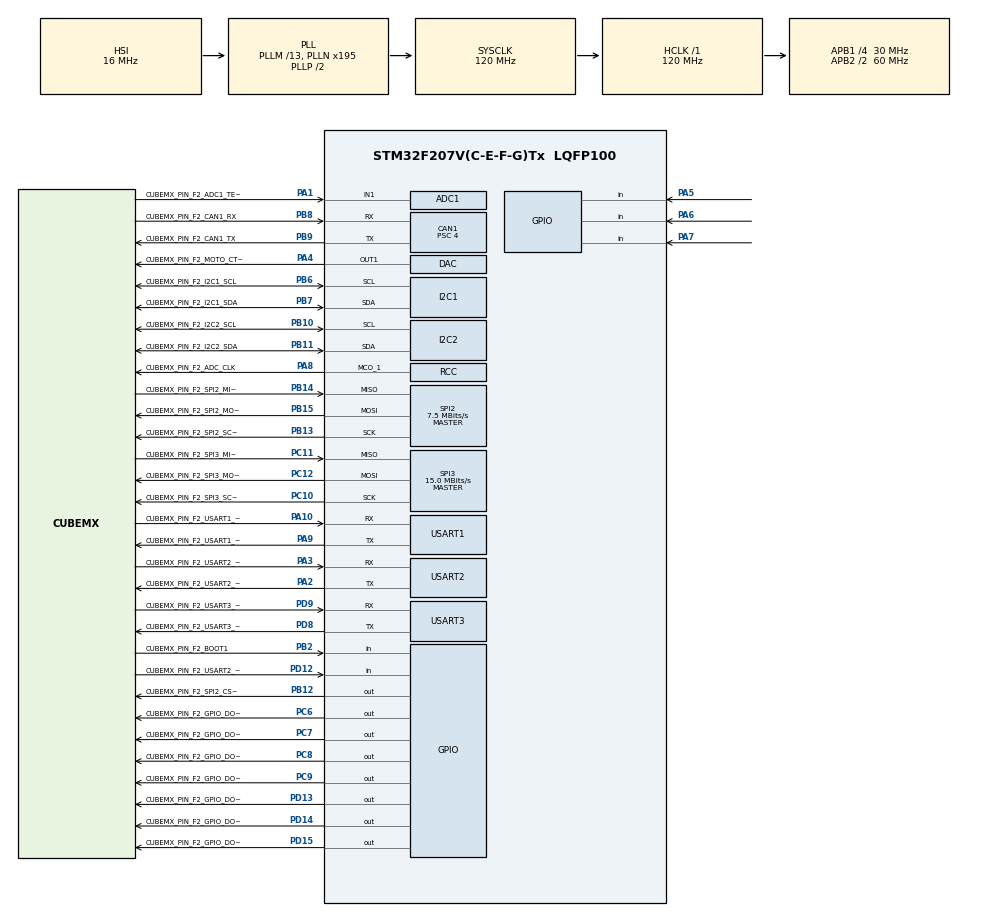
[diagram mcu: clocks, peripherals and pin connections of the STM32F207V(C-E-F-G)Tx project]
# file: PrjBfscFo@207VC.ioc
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ADC1.Channel-20\#ChannelRegularConversion=ADC_CHANNEL_1
ADC1.Channel-21\#ChannelRegularConversion=ADC_CHANNEL_TEMPSENSOR
ADC1.Channel-IN1=ADC_CHANNEL_1
ADC1.ClockPrescaler=ADC_CLOCK_SYNC_PCLK_DIV2
ADC1.ContinuousConvMode=DISABLE
ADC1.DMAContinuousRequests=DISABLE
ADC1.DataAlign=ADC_DATAALIGN_RIGHT
ADC1.DiscontinuousConvMode=DISABLE
ADC1.EOCSelection=ADC_EOC_SEQ_CONV
ADC1.EnableAnalogWatchDog=false
ADC1.ExternalTrigConvEdge=ADC_EXTERNALTRIGCONVEDGE_NONE
ADC1.InjNumberOfConversion=0
ADC1.NbrOfConversion=2
ADC1.Rank-20\#ChannelRegularConversion=1
ADC1.Rank-21\#ChannelRegularConversion=2
ADC1.Resolution=ADC_RESOLUTION_12B
ADC1.SamplingTime-20\#ChannelRegularConversion=ADC_SAMPLETIME_3CYCLES
ADC1.SamplingTime-21\#ChannelRegularConversion=ADC_SAMPLETIME_3CYCLES
ADC1.ScanConvMode=DISABLE
ADC1.master=1
CAN1.BS1=CAN_BS1_12TQ
CAN1.BS2=CAN_BS2_2TQ
CAN1.CalculateTimeBit=2000
CAN1.CalculateTimeQuantum=133.33333333333334
CAN1.Prescaler=4
Dma.Request0=SPI2_RX
Dma.Request1=SPI2_TX
Dma.SPI2_RX.0.Direction=DMA_PERIPH_TO_MEMORY
Dma.SPI2_RX.0.FIFOMode=DMA_FIFOMODE_DISABLE
Dma.SPI2_RX.0.Instance=DMA1_Stream3
Dma.SPI2_RX.0.MemDataAlignment=DMA_MDATAALIGN_BYTE
Dma.SPI2_RX.0.MemInc=DMA_MINC_ENABLE
Dma.SPI2_RX.0.Mode=DMA_NORMAL
Dma.SPI2_RX.0.PeriphDataAlignment=DMA_PDATAALIGN_BYTE
Dma.SPI2_RX.0.PeriphInc=DMA_PINC_DISABLE
Dma.SPI2_RX.0.Priority=DMA_PRIORITY_MEDIUM
Dma.SPI2_TX.1.Direction=DMA_MEMORY_TO_PERIPH
Dma.SPI2_TX.1.FIFOMode=DMA_FIFOMODE_DISABLE
Dma.SPI2_TX.1.Instance=DMA1_Stream4
Dma.SPI2_TX.1.MemDataAlignment=DMA_MDATAALIGN_BYTE
Dma.SPI2_TX.1.MemInc=DMA_MINC_ENABLE
Dma.SPI2_TX.1.Mode=DMA_NORMAL
Dma.SPI2_TX.1.PeriphDataAlignment=DMA_PDATAALIGN_BYTE
Dma.SPI2_TX.1.PeriphInc=DMA_PINC_DISABLE
Dma.SPI2_TX.1.Priority=DMA_PRIORITY_MEDIUM
FREERTOS.INCLUDE_eTaskGetState=1
FREERTOS.INCLUDE_pcTaskGetTaskName=1
FREERTOS.INCLUDE_vTaskCleanUpResources=1
FREERTOS.Queues01=myQueue01,16,uint16_t,NULL
FREERTOS.Tasks01=defaultTask,0,512,StartDefaultTask,Default;myTask02,0,512,StartTask02,Default
FREERTOS.Timers01=myTimer01,Callback01,osTimerPeriodic,Default
FREERTOS.configCHECK_FOR_STACK_OVERFLOW=2
FREERTOS.configGENERATE_RUN_TIME_STATS=1
FREERTOS.configMAX_PRIORITIES=31
FREERTOS.configMAX_TASK_NAME_LEN=24
FREERTOS.configQUEUE_REGISTRY_SIZE=2
FREERTOS.configTOTAL_HEAP_SIZE=0x8C00
FREERTOS.configUSE_COUNTING_SEMAPHORES=1
FREERTOS.configUSE_IDLE_HOOK=1
FREERTOS.configUSE_MALLOC_FAILED_HOOK=1
FREERTOS.configUSE_PORT_OPTIMISED_TASK_SELECTION=1
FREERTOS.configUSE_RECURSIVE_MUTEXES=1
FREERTOS.configUSE_TICKLESS_IDLE=1
FREERTOS.configUSE_TICK_HOOK=1
FREERTOS.configUSE_TIMERS=1
Mcu.Family=STM32F2
Mcu.Name=STM32F207V(C-E-F-G)Tx
Mcu.Package=LQFP100
NVIC.CAN1_RX0_IRQn=true\:5\:0\:false\:false\:true\:true
NVIC.CAN1_RX1_IRQn=true\:5\:0\:false\:false\:true\:true
NVIC.DMA1_Stream3_IRQn=true\:5\:0\:false\:false\:true\:true
NVIC.DMA1_Stream4_IRQn=true\:5\:0\:false\:false\:true\:true
NVIC.PriorityGroup=NVIC_PRIORITYGROUP_4
NVIC.SPI2_IRQn=true\:5\:0\:false\:true\:true\:3\:true
NVIC.TIM1_UP_TIM10_IRQn=true\:0\:0\:false\:false\:true\:false
NVIC.TimeBase=TIM1_UP_TIM10_IRQn
NVIC.TimeBaseIP=TIM1
NVIC.USART1_IRQn=true\:5\:0\:true\:false\:true\:true
NVIC.USART2_IRQn=true\:5\:0\:false\:true\:true\:4\:true
NVIC.USART3_IRQn=true\:5\:0\:false\:true\:true\:5\:true
PA0-WKUP.GPIO_Label=CUBEMX_PIN_F2_STS_WKUP
PA0-WKUP.Mode=SYS_WakeUp0
PA0-WKUP.Signal=SYS_WKUP
PA1.GPIO_Label=CUBEMX_PIN_F2_ADC1_TEST1
PA1.Signal=ADCx_IN1
PA10.GPIO_Label=CUBEMX_PIN_F2_USART1_RX_DEBUG
PA10.Mode=Asynchronous
PA10.Signal=USART1_RX
PA13.GPIO_Label=CUBEMX_PIN_F2_SYS_JTMS_SWDIO
PA13.Mode=JTAG_5_pins
PA13.Signal=SYS_JTMS-SWDIO
PA14.GPIO_Label=CUBEMX_PIN_F2_SYS_JTCK_SWCLK
PA14.Mode=JTAG_5_pins
PA14.Signal=SYS_JTCK-SWCLK
PA15.GPIO_Label=CUBEMX_PIN_F2_SYS_JTDI
PA15.Mode=JTAG_5_pins
PA15.Signal=SYS_JTDI
PA2.GPIO_Label=CUBEMX_PIN_F2_USART2_TX_485
PA2.Mode=Asynchronous
PA2.Signal=USART2_TX
PA3.GPIO_Label=CUBEMX_PIN_F2_USART2_RX_485
PA3.Mode=Asynchronous
PA3.Signal=USART2_RX
PA4.GPIO_Label=CUBEMX_PIN_F2_MOTO_CTRL
PA4.Signal=COMP_DAC1_group
PA5.Signal=GPIO_Input
PA6.Signal=GPIO_Input
PA7.Signal=GPIO_Input
PA8.GPIO_Label=CUBEMX_PIN_F2_ADC_CLK
PA8.Mode=Clock-out-1
PA8.Signal=RCC_MCO_1
PA9.GPIO_Label=CUBEMX_PIN_F2_USART1_TX_DEBUG
PA9.Mode=Asynchronous
PA9.Signal=USART1_TX
PB10.GPIO_Label=CUBEMX_PIN_F2_I2C2_SCL
PB10.Mode=I2C
PB10.Signal=I2C2_SCL
PB11.GPIO_Label=CUBEMX_PIN_F2_I2C2_SDA
PB11.Mode=I2C
PB11.Signal=I2C2_SDA
PB12.GPIO_Label=CUBEMX_PIN_F2_SPI2_CS_ADC
PB12.GPIO_Speed=GPIO_SPEED_FREQ_MEDIUM
PB12.PinState=GPIO_PIN_SET
PB12.Signal=GPIO_Output
PB13.GPIO_Label=CUBEMX_PIN_F2_SPI2_SCK_ADC
PB13.Mode=Full_Duplex_Master
PB13.Signal=SPI2_SCK
PB14.GPIO_Label=CUBEMX_PIN_F2_SPI2_MISO_ADC
PB14.Mode=Full_Duplex_Master
PB14.Signal=SPI2_MISO
PB15.GPIO_Label=CUBEMX_PIN_F2_SPI2_MOSI_ADC
PB15.Mode=Full_Duplex_Master
PB15.Signal=SPI2_MOSI
PB2.GPIO_Label=CUBEMX_PIN_F2_BOOT1
PB2.Signal=GPIO_Input
PB3.GPIO_Label=CUBEMX_PIN_F2_SYS_JTDO_SWO
PB3.Mode=JTAG_5_pins
PB3.Signal=SYS_JTDO-SWO
PB4.GPIO_Label=CUBEMX_PIN_F2_SYS_JTRST
PB4.Mode=JTAG_5_pins
PB4.Signal=SYS_JTRST
PB6.GPIO_Label=CUBEMX_PIN_F2_I2C1_SCL
PB6.Mode=I2C
PB6.Signal=I2C1_SCL
PB7.GPIO_Label=CUBEMX_PIN_F2_I2C1_SDA
PB7.Mode=I2C
PB7.Signal=I2C1_SDA
PB8.GPIO_Label=CUBEMX_PIN_F2_CAN1_RX
PB8.Mode=Master
PB8.Signal=CAN1_RX
PB9.GPIO_Label=CUBEMX_PIN_F2_CAN1_TX
PB9.Mode=Master
PB9.Signal=CAN1_TX
PC10.GPIO_Label=CUBEMX_PIN_F2_SPI3_SCK_ADC
PC10.Mode=Full_Duplex_Master
PC10.Signal=SPI3_SCK
PC11.GPIO_Label=CUBEMX_PIN_F2_SPI3_MISO_ADC
PC11.Mode=Full_Duplex_Master
PC11.Signal=SPI3_MISO
PC12.GPIO_Label=CUBEMX_PIN_F2_SPI3_MOSI_ADC
PC12.Mode=Full_Duplex_Master
PC12.Signal=SPI3_MOSI
PC14-OSC32_IN.GPIO_Label=CUBEMX_PIN_F2_RCC_OSC32_IN
PC14-OSC32_IN.Mode=LSE-External-Oscillator
PC14-OSC32_IN.Signal=RCC_OSC32_IN
PC15-OSC32_OUT.GPIO_Label=CUBEMX_PIN_F2_RCC_OSC32_OUT
PC15-OSC32_OUT.Mode=LSE-External-Oscillator
PC15-OSC32_OUT.Signal=RCC_OSC32_OUT
PC6.GPIO_Label=CUBEMX_PIN_F2_GPIO_DO_LED_SERV1
PC6.Signal=GPIO_Output
PC7.GPIO_Label=CUBEMX_PIN_F2_GPIO_DO_LED_WORK_STATE
PC7.Signal=GPIO_Output
PC8.GPIO_Label=CUBEMX_PIN_F2_GPIO_DO_LED_COMMU
PC8.Signal=GPIO_Output
PC9.GPIO_Label=CUBEMX_PIN_F2_GPIO_DO_LED_POWER
PC9.Signal=GPIO_Output
PD12.GPIO_Label=CUBEMX_PIN_F2_USART2_485_CTRL
PD12.Signal=GPIO_Input
PD13.GPIO_Label=CUBEMX_PIN_F2_GPIO_DO_BEEP
PD13.Signal=GPIO_Output
PD14.GPIO_Label=CUBEMX_PIN_F2_GPIO_DO_LED_SERV3
PD14.Signal=GPIO_Output
PD15.GPIO_Label=CUBEMX_PIN_F2_GPIO_DO_LED_SERV2
PD15.Signal=GPIO_Output
PD8.GPIO_Label=CUBEMX_PIN_F2_USART3_TX_PRINT
PD8.Mode=Asynchronous
PD8.Signal=USART3_TX
PD9.GPIO_Label=CUBEMX_PIN_F2_USART3_RX_PRINT
PD9.Mode=Asynchronous
PD9.Signal=USART3_RX
ProjectManager.HeapSize=0x200
ProjectManager.StackSize=0x400
ProjectManager.TargetToolchain=MDK-ARM V5
RCC.48MHZClocksFreq_Value=60000000
RCC.AHBFreq_Value=120000000
RCC.APB1CLKDivider=RCC_HCLK_DIV4
RCC.APB1Freq_Value=30000000
RCC.APB1TimFreq_Value=60000000
RCC.APB2CLKDivider=RCC_HCLK_DIV2
RCC.APB2Freq_Value=60000000
RCC.APB2TimFreq_Value=120000000
RCC.CortexFreq_Value=120000000
RCC.HCLKFreq_Value=120000000
RCC.HSE_VALUE=25000000
RCC.HSI_VALUE=16000000
RCC.PLLM=13
RCC.PLLN=195
RCC.SYSCLKFreq_VALUE=120000000
RCC.SYSCLKSource=RCC_SYSCLKSOURCE_PLLCLK
RCC.VCOOutputFreq_Value=240000000
RTC.Date=3
RTC.Year=17
SH.ADCx_IN1.0=ADC1_IN1,IN1
SH.COMP_DAC1_group.0=DAC_OUT1,DAC_OUT1
SPI2.BaudRatePrescaler=SPI_BAUDRATEPRESCALER_4
SPI2.CalculateBaudRate=7.5 MBits/s
SPI2.Mode=SPI_MODE_MASTER
SPI3.CalculateBaudRate=15.0 MBits/s
SPI3.Mode=SPI_MODE_MASTER
VP_ADC1_TempSens_Input.Mode=IN-TempSens
VP_CRC_VS_CRC.Mode=CRC_Activate
VP_FREERTOS_VS_ENABLE.Mode=Enabled
VP_RTC_VS_RTC_Activate.Mode=RTC_Enabled
VP_RTC_VS_RTC_Alarm_A_Intern.Mode=Alarm A
VP_RTC_VS_RTC_Alarm_B_Intern.Mode=Alarm B
VP_RTC_VS_RTC_Calendar.Mode=RTC_Calendar
VP_RTC_VS_RTC_WakeUp_intern.Mode=WakeUp
VP_SYS_VS_tim1.Mode=TIM1
VP_TIM6_VS_ClockSourceINT.Mode=Enable_Timer
VP_TIM7_VS_ClockSourceINT.Mode=Enable_Timer
board=PrjBfscFo@207VC

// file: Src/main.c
/**
  ******************************************************************************
  * File Name          : main.c
  * Description        : Main program body
  ******************************************************************************
  *
  * Copyright (c) 2017 STMicroelectronics International N.V.
  * All rights reserved.
  *
  * Redistribution and use in source and binary forms, with or without
  * modification, are permitted, provided that the following conditions are met:
  *
  * 1. Redistribution of source code must retain the above copyright notice,
  *    this list of conditions and the following disclaimer.
  * 2. Redistributions in binary form must reproduce the above copyright notice,
  *    this list of conditions and the following disclaimer in the documentation
  *    and/or other materials provided with the distribution.
  * 3. Neither the name of STMicroelectronics nor the names of other
  *    contributors to this software may be used to endorse or promote products
  *    derived from this software without specific written permission.
  * 4. This software, including modifications and/or derivative works of this
  *    software, must execute solely and exclusively on microcontroller or
  *    microprocessor devices manufactured by or for STMicroelectronics.
  * 5. Redistribution and use of this software other than as permitted under
  *    this license is void and will automatically terminate your rights under
  *    this license.
  *
  * THIS SOFTWARE IS PROVIDED BY STMICROELECTRONICS AND CONTRIBUTORS "AS IS"
  * AND ANY EXPRESS, IMPLIED OR STATUTORY WARRANTIES, INCLUDING, BUT NOT
  * LIMITED TO, THE IMPLIED WARRANTIES OF MERCHANTABILITY, FITNESS FOR A
  * PARTICULAR PURPOSE AND NON-INFRINGEMENT OF THIRD PARTY INTELLECTUAL PROPERTY
  * RIGHTS ARE DISCLAIMED TO THE FULLEST EXTENT PERMITTED BY LAW. IN NO EVENT
  * SHALL STMICROELECTRONICS OR CONTRIBUTORS BE LIABLE FOR ANY DIRECT, INDIRECT,
  * INCIDENTAL, SPECIAL, EXEMPLARY, OR CONSEQUENTIAL DAMAGES (INCLUDING, BUT NOT
  * LIMITED TO, PROCUREMENT OF SUBSTITUTE GOODS OR SERVICES; LOSS OF USE, DATA,
  * OR PROFITS; OR BUSINESS INTERRUPTION) HOWEVER CAUSED AND ON ANY THEORY OF
  * LIABILITY, WHETHER IN CONTRACT, STRICT LIABILITY, OR TORT (INCLUDING
  * NEGLIGENCE OR OTHERWISE) ARISING IN ANY WAY OUT OF THE USE OF THIS SOFTWARE,
  * EVEN IF ADVISED OF THE POSSIBILITY OF SUCH DAMAGE.
  *
  ******************************************************************************
  */
#include "main.h"
#include "stm32f2xx_hal.h"
#include "cmsis_os.h"
#include "adc.h"
#include "can.h"
#include "crc.h"
#include "dac.h"
#include "dma.h"
#include "i2c.h"
#include "rtc.h"
#include "spi.h"
#include "tim.h"
#include "usart.h"
#include "gpio.h"

#include "huitp.h"

/* USER CODE BEGIN PV */
/* Private variables ---------------------------------------------------------*/
uint8_t zIhuUartRxBuffer[6];
uint8_t zIhuSpiRxBuffer[2];
uint8_t zIhuI2cRxBuffer[2];

/* USER CODE END PV */

void SystemClock_Config(void);
void Error_Handler(void);
void MX_FREERTOS_Init(void);
static void MX_NVIC_Init(void);

/* USER CODE BEGIN PFP */
/* Private function prototypes -----------------------------------------------*/
#ifdef __GNUC__
  /* With GCC/RAISONANCE, small printf (option LD Linker->Libraries->Small printf
     set to 'Yes') calls __io_putchar() */
  #define PUTCHAR_PROTOTYPE int __io_putchar(int ch)
#else
  #define PUTCHAR_PROTOTYPE int fputc(int ch, FILE *f)
#endif /* __GNUC__ */
/* USER CODE END PFP */

int main(void)
{

  /* MCU Configuration----------------------------------------------------------*/

  /* Reset of all peripherals, Initializes the Flash interface and the Systick. */
  HAL_Init();

  /* Configure the system clock */
  SystemClock_Config();

  /* Initialize all configured peripherals */
  MX_GPIO_Init();
  MX_DMA_Init();
  MX_ADC1_Init();
  MX_SPI2_Init();
  MX_TIM6_Init();
  MX_TIM7_Init();
  MX_USART1_UART_Init();
  MX_USART2_UART_Init();
  MX_USART3_UART_Init();
  MX_CAN1_Init();
  MX_RTC_Init();
  MX_CRC_Init();
  MX_DAC_Init();
  MX_I2C1_Init();
  MX_I2C2_Init();
  MX_SPI3_Init();

  /* Initialize interrupts */
  MX_NVIC_Init();

  /* USER CODE BEGIN 2 */
	/* 使能接收，进入中断回调函数 */
  HAL_UART_Receive_IT(&huart1,&zIhuUartRxBuffer[0],1);
  HAL_UART_Receive_IT(&huart2,&zIhuUartRxBuffer[1],1);
  HAL_UART_Receive_IT(&huart3,&zIhuUartRxBuffer[2],1);
//  HAL_UART_Receive_IT(&huart4,&zIhuUartRxBuffer[3],1);
//  HAL_UART_Receive_IT(&huart5,&zIhuUartRxBuffer[4],1);
  //HAL_UART_Receive_IT(&huart6,&zIhuUartRxBuffer[5],1);
  //HAL_SPI_Receive_IT(&hspi1,&zIhuSpiRxBuffer[0],1);
  //HAL_SPI_Receive_IT(&hspi2,&zIhuSpiRxBuffer[1],1);
  HAL_I2C_Slave_Receive_IT(&hi2c1,&zIhuI2cRxBuffer[0],1);
  //HAL_CAN_Receive_IT(&hcan2, 1);
	bsp_can_init(&hcan1, 0x10);
	HAL_CAN_Receive_IT(&hcan1, 0);

	Set_CS5532();
	CS5532Init();
	printf("Init Success (SystemCoreClock = %d)...\r\n", SystemCoreClock);

  /* USER CODE END 2 */

  /* Call init function for freertos objects (in freertos.c) */
  MX_FREERTOS_Init();

  /* Start scheduler */
  osKernelStart();

  /* We should never get here as control is now taken by the scheduler */

  /* Infinite loop */
  while (1)
  {

  }

}

/** System Clock Configuration
*/
void SystemClock_Config(void)
{

  RCC_OscInitTypeDef RCC_OscInitStruct;
  RCC_ClkInitTypeDef RCC_ClkInitStruct;
  RCC_PeriphCLKInitTypeDef PeriphClkInitStruct;

    /**Initializes the CPU, AHB and APB busses clocks
    */
  RCC_OscInitStruct.OscillatorType = RCC_OSCILLATORTYPE_HSI|RCC_OSCILLATORTYPE_LSI;
  RCC_OscInitStruct.HSIState = RCC_HSI_ON;
  RCC_OscInitStruct.HSICalibrationValue = 16;
  RCC_OscInitStruct.LSIState = RCC_LSI_ON;
  RCC_OscInitStruct.PLL.PLLState = RCC_PLL_ON;
  RCC_OscInitStruct.PLL.PLLSource = RCC_PLLSOURCE_HSI;
  RCC_OscInitStruct.PLL.PLLM = 13;
  RCC_OscInitStruct.PLL.PLLN = 195;
  RCC_OscInitStruct.PLL.PLLP = RCC_PLLP_DIV2;
  RCC_OscInitStruct.PLL.PLLQ = 4;
  if (HAL_RCC_OscConfig(&RCC_OscInitStruct) != HAL_OK)
  {
    Error_Handler();
  }

    /**Initializes the CPU, AHB and APB busses clocks
    */
  RCC_ClkInitStruct.ClockType = RCC_CLOCKTYPE_HCLK|RCC_CLOCKTYPE_SYSCLK
                              |RCC_CLOCKTYPE_PCLK1|RCC_CLOCKTYPE_PCLK2;
  RCC_ClkInitStruct.SYSCLKSource = RCC_SYSCLKSOURCE_PLLCLK;
  RCC_ClkInitStruct.AHBCLKDivider = RCC_SYSCLK_DIV1;
  RCC_ClkInitStruct.APB1CLKDivider = RCC_HCLK_DIV4;
  RCC_ClkInitStruct.APB2CLKDivider = RCC_HCLK_DIV2;

  if (HAL_RCC_ClockConfig(&RCC_ClkInitStruct, FLASH_LATENCY_3) != HAL_OK)
  {
    Error_Handler();
  }

  PeriphClkInitStruct.PeriphClockSelection = RCC_PERIPHCLK_RTC;
  PeriphClkInitStruct.RTCClockSelection = RCC_RTCCLKSOURCE_LSI;
  if (HAL_RCCEx_PeriphCLKConfig(&PeriphClkInitStruct) != HAL_OK)
  {
    Error_Handler();
  }

  HAL_RCC_MCOConfig(RCC_MCO1, RCC_MCO1SOURCE_HSI, RCC_MCODIV_1);

    /**Configure the Systick interrupt time
    */
  HAL_SYSTICK_Config(HAL_RCC_GetHCLKFreq()/1000);

    /**Configure the Systick
    */
  HAL_SYSTICK_CLKSourceConfig(SYSTICK_CLKSOURCE_HCLK);

  /* SysTick_IRQn interrupt configuration */
  HAL_NVIC_SetPriority(SysTick_IRQn, 15, 0);
}

/** NVIC Configuration
*/
static void MX_NVIC_Init(void)
{
  /* SPI2_IRQn interrupt configuration */
  HAL_NVIC_SetPriority(SPI2_IRQn, 5, 0);
  HAL_NVIC_EnableIRQ(SPI2_IRQn);
  /* USART2_IRQn interrupt configuration */
  HAL_NVIC_SetPriority(USART2_IRQn, 5, 0);
  HAL_NVIC_EnableIRQ(USART2_IRQn);
  /* USART3_IRQn interrupt configuration */
  HAL_NVIC_SetPriority(USART3_IRQn, 5, 0);
  HAL_NVIC_EnableIRQ(USART3_IRQn);
}

/* USER CODE BEGIN 4 */
PUTCHAR_PROTOTYPE
{
  /* Place your implementation of fputc here */
  /* e.g. write a character to the EVAL_COM1 and Loop until the end of transmission */
  HAL_UART_Transmit(&huart3, (uint8_t *)&ch, 1, 0xFFFF);

  return ch;
}
/* USER CODE END 4 */

void HAL_TIM_PeriodElapsedCallback(TIM_HandleTypeDef *htim)
{
  if (htim->Instance == TIM1) {
    HAL_IncTick();
  }
}

void Error_Handler(void)
{
  /* USER CODE BEGIN Error_Handler */
  /* User can add his own implementation to report the HAL error return state */
//	IhuErrorPrint("VMFO: Fatal error occured, but still move forward as test purposed!");
//  while(1)
//  {
//  }
  /* USER CODE END Error_Handler */
}

/************************ (C) COPYRIGHT STMicroelectronics *****END OF FILE****/

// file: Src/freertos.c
/**
  ******************************************************************************
  * File Name          : freertos.c
  * Description        : Code for freertos applications
  ******************************************************************************
  *
  * Copyright (c) 2017 STMicroelectronics International N.V.
  * All rights reserved.
  *
  * Redistribution and use in source and binary forms, with or without
  * modification, are permitted, provided that the following conditions are met:
  *
  * 1. Redistribution of source code must retain the above copyright notice,
  *    this list of conditions and the following disclaimer.
  * 2. Redistributions in binary form must reproduce the above copyright notice,
  *    this list of conditions and the following disclaimer in the documentation
  *    and/or other materials provided with the distribution.
  * 3. Neither the name of STMicroelectronics nor the names of other
  *    contributors to this software may be used to endorse or promote products
  *    derived from this software without specific written permission.
  * 4. This software, including modifications and/or derivative works of this
  *    software, must execute solely and exclusively on microcontroller or
  *    microprocessor devices manufactured by or for STMicroelectronics.
  * 5. Redistribution and use of this software other than as permitted under
  *    this license is void and will automatically terminate your rights under
  *    this license.
  *
  * THIS SOFTWARE IS PROVIDED BY STMICROELECTRONICS AND CONTRIBUTORS "AS IS"
  * AND ANY EXPRESS, IMPLIED OR STATUTORY WARRANTIES, INCLUDING, BUT NOT
  * LIMITED TO, THE IMPLIED WARRANTIES OF MERCHANTABILITY, FITNESS FOR A
  * PARTICULAR PURPOSE AND NON-INFRINGEMENT OF THIRD PARTY INTELLECTUAL PROPERTY
  * RIGHTS ARE DISCLAIMED TO THE FULLEST EXTENT PERMITTED BY LAW. IN NO EVENT
  * SHALL STMICROELECTRONICS OR CONTRIBUTORS BE LIABLE FOR ANY DIRECT, INDIRECT,
  * INCIDENTAL, SPECIAL, EXEMPLARY, OR CONSEQUENTIAL DAMAGES (INCLUDING, BUT NOT
  * LIMITED TO, PROCUREMENT OF SUBSTITUTE GOODS OR SERVICES; LOSS OF USE, DATA,
  * OR PROFITS; OR BUSINESS INTERRUPTION) HOWEVER CAUSED AND ON ANY THEORY OF
  * LIABILITY, WHETHER IN CONTRACT, STRICT LIABILITY, OR TORT (INCLUDING
  * NEGLIGENCE OR OTHERWISE) ARISING IN ANY WAY OUT OF THE USE OF THIS SOFTWARE,
  * EVEN IF ADVISED OF THE POSSIBILITY OF SUCH DAMAGE.
  *
  ******************************************************************************
  */

#include "FreeRTOS.h"
#include "task.h"
#include "cmsis_os.h"

/* USER CODE BEGIN Includes */
#include "vmfreeoslayer.h"

/* USER CODE END Includes */

osThreadId defaultTaskHandle;
osThreadId myTask02Handle;
osMessageQId myQueue01Handle;
osTimerId myTimer01Handle;

void StartDefaultTask(void const * argument);
void StartTask02(void const * argument);
void Callback01(void const * argument);

void MX_FREERTOS_Init(void); /* (MISRA C 2004 rule 8.1) */

/* Pre/Post sleep processing prototypes */
void PreSleepProcessing(uint32_t *ulExpectedIdleTime);
void PostSleepProcessing(uint32_t *ulExpectedIdleTime);

/* Hook prototypes */
void configureTimerForRunTimeStats(void);
unsigned long getRunTimeCounterValue(void);
void vApplicationIdleHook(void);
void vApplicationTickHook(void);
void vApplicationStackOverflowHook(xTaskHandle xTask, signed char *pcTaskName);
void vApplicationMallocFailedHook(void);

/* USER CODE BEGIN 1 */
/* Functions needed when configGENERATE_RUN_TIME_STATS is on */
void configureTimerForRunTimeStats(void)
{

}

unsigned long getRunTimeCounterValue(void)
{
return 0;
}
/* USER CODE END 1 */

/* USER CODE BEGIN 2 */
void vApplicationIdleHook( void )
{
   /* vApplicationIdleHook() will only be called if configUSE_IDLE_HOOK is set
   to 1 in FreeRTOSConfig.h. It will be called on each iteration of the idle
   task. It is essential that code added to this hook function never attempts
   to block in any way (for example, call xQueueReceive() with a block time
   specified, or call vTaskDelay()). If the application makes use of the
   vTaskDelete() API function (as this demo application does) then it is also
   important that vApplicationIdleHook() is permitted to return to its calling
   function, because it is the responsibility of the idle task to clean up
   memory allocated by the kernel to any task that has since been deleted. */
}
/* USER CODE END 2 */

/* USER CODE BEGIN 3 */
void vApplicationTickHook( void )
{
   /* This function will be called by each tick interrupt if
   configUSE_TICK_HOOK is set to 1 in FreeRTOSConfig.h. User code can be
   added here, but the tick hook is called from an interrupt context, so
   code must not attempt to block, and only the interrupt safe FreeRTOS API
   functions can be used (those that end in FromISR()). */
}
/* USER CODE END 3 */

/* USER CODE BEGIN 4 */
void vApplicationStackOverflowHook(xTaskHandle xTask, signed char *pcTaskName)
{
   /* Run time stack overflow checking is performed if
   configCHECK_FOR_STACK_OVERFLOW is defined to 1 or 2. This hook function is
   called if a stack overflow is detected. */
}
/* USER CODE END 4 */

/* USER CODE BEGIN 5 */
void vApplicationMallocFailedHook(void)
{
   /* vApplicationMallocFailedHook() will only be called if
   configUSE_MALLOC_FAILED_HOOK is set to 1 in FreeRTOSConfig.h. It is a hook
   function that will get called if a call to pvPortMalloc() fails.
   pvPortMalloc() is called internally by the kernel whenever a task, queue,
   timer or semaphore is created. It is also called by various parts of the
   demo application. If heap_1.c or heap_2.c are used, then the size of the
   heap available to pvPortMalloc() is defined by configTOTAL_HEAP_SIZE in
   FreeRTOSConfig.h, and the xPortGetFreeHeapSize() API function can be used
   to query the size of free heap space that remains (although it does not
   provide information on how the remaining heap might be fragmented). */
}
/* USER CODE END 5 */

/* USER CODE BEGIN PREPOSTSLEEP */
void PreSleepProcessing(uint32_t *ulExpectedIdleTime)
{
/* place for user code */
}

void PostSleepProcessing(uint32_t *ulExpectedIdleTime)
{
/* place for user code */
}
/* USER CODE END PREPOSTSLEEP */

/* Init FreeRTOS */

void MX_FREERTOS_Init(void) {

  /* Create the timer(s) */
  /* definition and creation of myTimer01 */
  osTimerDef(myTimer01, Callback01);
  myTimer01Handle = osTimerCreate(osTimer(myTimer01), osTimerPeriodic, NULL);

  /* Create the thread(s) */
  /* definition and creation of defaultTask */
  osThreadDef(defaultTask, StartDefaultTask, osPriorityNormal, 0, 512);
  defaultTaskHandle = osThreadCreate(osThread(defaultTask), NULL);

  /* definition and creation of myTask02 */
  osThreadDef(myTask02, StartTask02, osPriorityNormal, 0, 512);
  myTask02Handle = osThreadCreate(osThread(myTask02), NULL);

  /* Create the queue(s) */
  /* definition and creation of myQueue01 */
  osMessageQDef(myQueue01, 16, uint16_t);
  myQueue01Handle = osMessageCreate(osMessageQ(myQueue01), NULL);

  /* USER CODE BEGIN RTOS_QUEUES */
  /* add queues, ... */
	//Self defined main task entry
	ihu_vm_main();

  /* USER CODE END RTOS_QUEUES */
}

/* StartDefaultTask function */
void StartDefaultTask(void const * argument)
{

  for(;;)
  {
    osDelay(1);
  }
}

/* StartTask02 function */
void StartTask02(void const * argument)
{
  for(;;)
  {
    osDelay(1);
  }
}

/* Callback01 function */
void Callback01(void const * argument)
{
}

/************************ (C) COPYRIGHT STMicroelectronics *****END OF FILE****/
